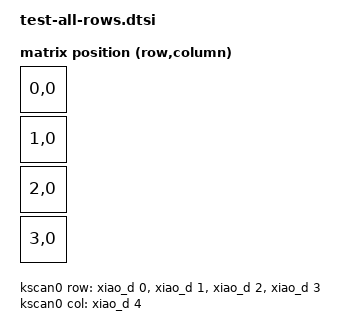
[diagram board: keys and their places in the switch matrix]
/*
 * Test Configuration: All Rows, Single Column
 * Purpose: Map all row pins after finding one working column
 *
 * Prerequisites:
 * - You must have found at least one working column pin from test-single-key.dtsi
 *
 * Usage:
 * 1. Replace COL_PIN with your known working column pin
 * 2. Flash firmware
 * 3. Press keys in that column (one from each row)
 * 4. Note which physical keys map to rows 0, 1, 2, 3
 * 5. Document the physical row order
 */

#include <dt-bindings/zmk/matrix_transform.h>

/ {
    chosen {
        zmk,kscan = &kscan0;
        zmk,matrix_transform = &default_transform;
    };

    default_transform: keymap_transform_0 {
        compatible = "zmk,matrix-transform";
        columns = <1>;
        rows = <4>;
        // Single column with 4 keys
        map = <
            RC(0,0)
            RC(1,0)
            RC(2,0)
            RC(3,0)
        >;
    };

    kscan0: kscan_0 {
        compatible = "zmk,kscan-gpio-matrix";
        label = "KSCAN";

        diode-direction = "col2row";

        // All 4 row pins
        row-gpios
            = <&xiao_d 0 (GPIO_ACTIVE_HIGH | GPIO_PULL_DOWN)>
            , <&xiao_d 1 (GPIO_ACTIVE_HIGH | GPIO_PULL_DOWN)>
            , <&xiao_d 2 (GPIO_ACTIVE_HIGH | GPIO_PULL_DOWN)>
            , <&xiao_d 3 (GPIO_ACTIVE_HIGH | GPIO_PULL_DOWN)>
            ;

        // REPLACE 4 with your working column pin number
        col-gpios = <&xiao_d 4 GPIO_ACTIVE_HIGH>;
    };
};

/*
 * TESTING NOTES:
 *
 * Physical Key → Matrix Position Mapping:
 *
 * Press each key in the working column and note which row number it produces:
 *
 * Physical Key Location    Matrix Position    Row Pin
 * -----------------------  -----------------  --------
 * Top key in column        RC(?,0)            xiao_d ?
 * Second key               RC(?,0)            xiao_d ?
 * Third key                RC(?,0)            xiao_d ?
 * Bottom key               RC(?,0)            xiao_d ?
 *
 * If the mapping doesn't match physical layout (e.g., top key = row 2),
 * you may need to reorder the row-gpios to match the physical layout.
 */
